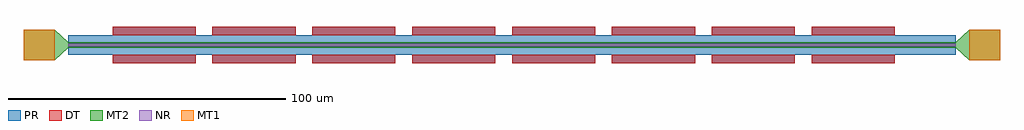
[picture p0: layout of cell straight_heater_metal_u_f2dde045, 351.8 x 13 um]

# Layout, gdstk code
import gdstk
lib = gdstk.Library(unit=1e-6, precision=1e-09)
def R(c, l, rs):  # rectangles x0, y0, x1, y1
    for r in rs: c.add(gdstk.rectangle(r[:2], r[2:], *l))
def A(c, l, x, y, w, h, nx, ny, dx, dy):  # array of equal rectangles
    R(c, l, [(x+i*dx, y+j*dy, x+i*dx+w, y+j*dy+h) for i in range(nx) for j in range(ny)])
def P(c, l, *ps):  # polygons
    for p in ps: c.add(gdstk.Polygon(p, *l))
MT1 = (2, 0)
MT2 = (21, 0)
DT = (33, 0)
PR = (60, 0)
NR = (61, 0)

straight_heater_metal_u_ = lib.new_cell('straight_heater_metal_u_f2dde045')
R(straight_heater_metal_u_, MT1, [(-15.9,-5.5,-4.9,5.5), (324.9,-5.5,335.9,5.5)])
P(straight_heater_metal_u_, MT2, [(-15.9,-5.5),(-15.9,5.5),(-4.9,5.5),(0.1,1),(319.9,1),(324.9,5.5),(335.9,5.5),(335.9,-5.5),(324.9,-5.5),(319.9,-1),(0.1,-1),(-4.9,-5.5)])
A(straight_heater_metal_u_, DT, 16, -6.5, 30, 3, 8, 2, 36, 10)
P(straight_heater_metal_u_, PR, [(0,0.5),(0,3.5),(16,3.5),(16,6.5),(46,6.5),(46,3.5),(52,3.5),(52,6.5),(82,6.5),(82,3.5),(88,3.5),(88,6.5),(118,6.5),(118,3.5),(124,3.5),(124,6.5),(154,6.5),(154,3.5),(160,3.5),(160,6.5),(190,6.5),(190,3.5),(196,3.5),(196,6.5),(226,6.5),(226,3.5),(232,3.5),(232,6.5),(262,6.5),(262,3.5),(268,3.5),(268,6.5),(298,6.5),(298,3.5),(320,3.5),(320,0.5)],
  [(16,-6.5),(16,-3.5),(0,-3.5),(0,-0.5),(320,-0.5),(320,-3.5),(298,-3.5),(298,-6.5),(268,-6.5),(268,-3.5),(262,-3.5),(262,-6.5),(232,-6.5),(232,-3.5),(226,-3.5),(226,-6.5),(196,-6.5),(196,-3.5),(190,-3.5),(190,-6.5),(160,-6.5),(160,-3.5),(154,-3.5),(154,-6.5),(124,-6.5),(124,-3.5),(118,-3.5),(118,-6.5),(88,-6.5),(88,-3.5),(82,-3.5),(82,-6.5),(52,-6.5),(52,-3.5),(46,-3.5),(46,-6.5)])
R(straight_heater_metal_u_, NR, [(0,-0.5,320,0.5)])

lib.write_gds('straight_heater_metal_u_f2dde045.gds')
